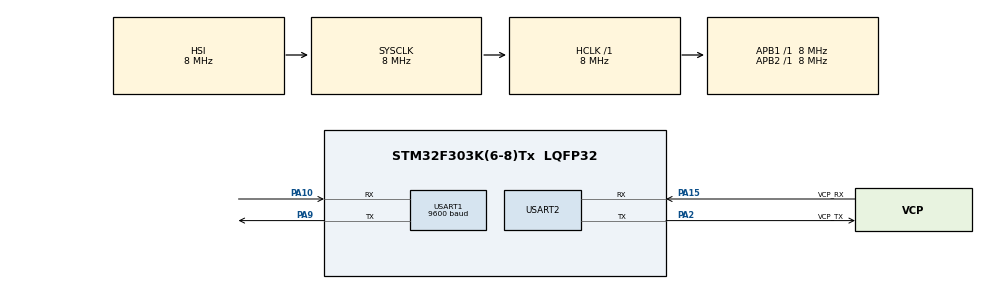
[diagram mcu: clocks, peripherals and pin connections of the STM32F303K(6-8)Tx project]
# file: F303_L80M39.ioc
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Mcu.Family=STM32F3
Mcu.Name=STM32F303K(6-8)Tx
Mcu.Package=LQFP32
NVIC.PriorityGroup=NVIC_PRIORITYGROUP_4
PA10.Mode=Asynchronous
PA10.Signal=USART1_RX
PA13.GPIO_Label=SWDIO
PA13.Mode=Serial_Wire
PA13.Signal=SYS_JTMS-SWDIO
PA14.GPIO_Label=SWCLK
PA14.Mode=Serial_Wire
PA14.Signal=SYS_JTCK-SWCLK
PA15.GPIO_Label=VCP_RX
PA15.Mode=Asynchronous
PA15.Signal=USART2_RX
PA2.GPIO_Label=VCP_TX
PA2.Mode=Asynchronous
PA2.Signal=USART2_TX
PA9.Mode=Asynchronous
PA9.Signal=USART1_TX
PF0\ /\ OSC_IN.GPIO_Label=MCO
PF0\ /\ OSC_IN.Mode=HSE-External-Clock-Source
PF0\ /\ OSC_IN.Signal=RCC_OSC_IN
ProjectManager.HeapSize=0x200
ProjectManager.StackSize=0x400
ProjectManager.TargetToolchain=STM32CubeIDE
RCC.AHBFreq_Value=8000000
RCC.APB1Freq_Value=8000000
RCC.APB2Freq_Value=8000000
RCC.CortexFreq_Value=8000000
RCC.HSE_VALUE=8000000
RCC.HSI_VALUE=8000000
RCC.SYSCLKFreq_VALUE=8000000
USART1.BaudRate=9600
USART1.VirtualMode-Asynchronous=VM_ASYNC
USART2.VirtualMode-Asynchronous=VM_ASYNC
board=NUCLEO-F303K8

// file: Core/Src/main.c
/* USER CODE BEGIN Header */
/**
  ******************************************************************************
  * @file           : main.c
  * @brief          : Main program body
  ******************************************************************************
  * @attention
  *
  * Copyright (c) 2023 STMicroelectronics.
  * All rights reserved.
  *
  * This software is licensed under terms that can be found in the LICENSE file
  * in the root directory of this software component.
  * If no LICENSE file comes with this software, it is provided AS-IS.
  *
  ******************************************************************************
  */
/* USER CODE END Header */
#include "main.h"

/* USER CODE BEGIN Includes */
#include "L80M39.h"

/* USER CODE END Includes */

/* USER CODE BEGIN PD */
#define BUFFER_LENGTH 600
/* USER CODE END PD */

UART_HandleTypeDef huart1;
UART_HandleTypeDef huart2;

/* USER CODE BEGIN PV */
L80M39_t gps;
uint8_t UART1_rxBuffer[BUFFER_LENGTH] = {};

/* USER CODE END PV */

void SystemClock_Config(void);
static void MX_GPIO_Init(void);
static void MX_USART2_UART_Init(void);
static void MX_USART1_UART_Init(void);
/* USER CODE BEGIN PFP */
#ifdef __GNUC__
#define PUTCHAR_PROTOTYPE int __io_putchar(int ch)
#else
#define PUTCHAR_PROTOTYPE int fputc(int ch, FILE *f)
#endif

PUTCHAR_PROTOTYPE
{
  HAL_UART_Transmit(&huart2, (uint8_t *)&ch, 1, HAL_MAX_DELAY);
  return ch;
}

/*void HAL_UART_RxCpltCallback(UART_HandleTypeDef *huart)
{
	if (gps.antennaStatus == ANT_UNKNOWN) {
		printf("Antenna status is UKNOWN.\n\r");
	} else if (gps.antennaStatus == OPEN) {
		printf("Antenna status is OPEN.\n\r");
	}

	printf("Datetime is: %.2f\n\r", gps.datetime);

    HAL_UART_Transmit(&huart2, UART1_rxBuffer, BUFFER_LENGTH, HAL_MAX_DELAY);
    L80M39_parse(&gps, UART1_rxBuffer, BUFFER_LENGTH);
    //HAL_UART_Receive_DMA(&huart1, &UART1_rxBuffer[0], BUFFER_LENGTH);
}*/
/* USER CODE END PFP */

int main(void)
{

  /* MCU Configuration--------------------------------------------------------*/

  /* Reset of all peripherals, Initializes the Flash interface and the Systick. */
  HAL_Init();

  /* Configure the system clock */
  SystemClock_Config();

  /* Initialize all configured peripherals */
  MX_GPIO_Init();
  MX_USART2_UART_Init();
  MX_USART1_UART_Init();
  /* USER CODE BEGIN 2 */
  //HAL_UART_Receive_DMA (&huart1, &UART1_rxBuffer[0], BUFFER_LENGTH);
  /* USER CODE END 2 */

  /* Infinite loop */
  while (1)
  {

    /* USER CODE BEGIN 3 */
	HAL_UART_Receive (&huart1, UART1_rxBuffer, BUFFER_LENGTH, 1000);

	if (gps.antennaStatus == ANT_UNKNOWN) {
		printf("Antenna status is UKNOWN.\n\r");
	} else if (gps.antennaStatus == OPEN) {
		printf("Antenna status is OPEN.\n\r");
	}

	printf("Datetime is: %.2f\n\r", gps.datetime);
	printf("Lat: %.8f %c Long: %.8f %c\n\r", gps.latitude, gps.latitudeLoc, gps.longitude, gps.longitudeLoc);
	L80M39_parse(&gps, UART1_rxBuffer, BUFFER_LENGTH);
	HAL_Delay(10);
  }
  /* USER CODE END 3 */
}

void SystemClock_Config(void)
{
  RCC_OscInitTypeDef RCC_OscInitStruct = {0};
  RCC_ClkInitTypeDef RCC_ClkInitStruct = {0};
  RCC_PeriphCLKInitTypeDef PeriphClkInit = {0};

  /** Initializes the RCC Oscillators according to the specified parameters
  * in the RCC_OscInitTypeDef structure.
  */
  RCC_OscInitStruct.OscillatorType = RCC_OSCILLATORTYPE_HSI;
  RCC_OscInitStruct.HSIState = RCC_HSI_ON;
  RCC_OscInitStruct.HSICalibrationValue = RCC_HSICALIBRATION_DEFAULT;
  RCC_OscInitStruct.PLL.PLLState = RCC_PLL_NONE;
  if (HAL_RCC_OscConfig(&RCC_OscInitStruct) != HAL_OK)
  {
    Error_Handler();
  }

  /** Initializes the CPU, AHB and APB buses clocks
  */
  RCC_ClkInitStruct.ClockType = RCC_CLOCKTYPE_HCLK|RCC_CLOCKTYPE_SYSCLK
                              |RCC_CLOCKTYPE_PCLK1|RCC_CLOCKTYPE_PCLK2;
  RCC_ClkInitStruct.SYSCLKSource = RCC_SYSCLKSOURCE_HSI;
  RCC_ClkInitStruct.AHBCLKDivider = RCC_SYSCLK_DIV1;
  RCC_ClkInitStruct.APB1CLKDivider = RCC_HCLK_DIV1;
  RCC_ClkInitStruct.APB2CLKDivider = RCC_HCLK_DIV1;

  if (HAL_RCC_ClockConfig(&RCC_ClkInitStruct, FLASH_LATENCY_0) != HAL_OK)
  {
    Error_Handler();
  }
  PeriphClkInit.PeriphClockSelection = RCC_PERIPHCLK_USART1;
  PeriphClkInit.Usart1ClockSelection = RCC_USART1CLKSOURCE_PCLK1;
  if (HAL_RCCEx_PeriphCLKConfig(&PeriphClkInit) != HAL_OK)
  {
    Error_Handler();
  }
}

static void MX_USART1_UART_Init(void)
{

  huart1.Instance = USART1;
  huart1.Init.BaudRate = 9600;
  huart1.Init.WordLength = UART_WORDLENGTH_8B;
  huart1.Init.StopBits = UART_STOPBITS_1;
  huart1.Init.Parity = UART_PARITY_NONE;
  huart1.Init.Mode = UART_MODE_TX_RX;
  huart1.Init.HwFlowCtl = UART_HWCONTROL_NONE;
  huart1.Init.OverSampling = UART_OVERSAMPLING_16;
  huart1.Init.OneBitSampling = UART_ONE_BIT_SAMPLE_DISABLE;
  huart1.AdvancedInit.AdvFeatureInit = UART_ADVFEATURE_NO_INIT;
  if (HAL_UART_Init(&huart1) != HAL_OK)
  {
    Error_Handler();
  }

}

static void MX_USART2_UART_Init(void)
{

  huart2.Instance = USART2;
  huart2.Init.BaudRate = 38400;
  huart2.Init.WordLength = UART_WORDLENGTH_8B;
  huart2.Init.StopBits = UART_STOPBITS_1;
  huart2.Init.Parity = UART_PARITY_NONE;
  huart2.Init.Mode = UART_MODE_TX_RX;
  huart2.Init.HwFlowCtl = UART_HWCONTROL_NONE;
  huart2.Init.OverSampling = UART_OVERSAMPLING_16;
  huart2.Init.OneBitSampling = UART_ONE_BIT_SAMPLE_DISABLE;
  huart2.AdvancedInit.AdvFeatureInit = UART_ADVFEATURE_NO_INIT;
  if (HAL_UART_Init(&huart2) != HAL_OK)
  {
    Error_Handler();
  }

}

static void MX_GPIO_Init(void)
{

  /* GPIO Ports Clock Enable */
  __HAL_RCC_GPIOF_CLK_ENABLE();
  __HAL_RCC_GPIOA_CLK_ENABLE();

}

void Error_Handler(void)
{
  __disable_irq();
  while (1)
  {
  }
}
